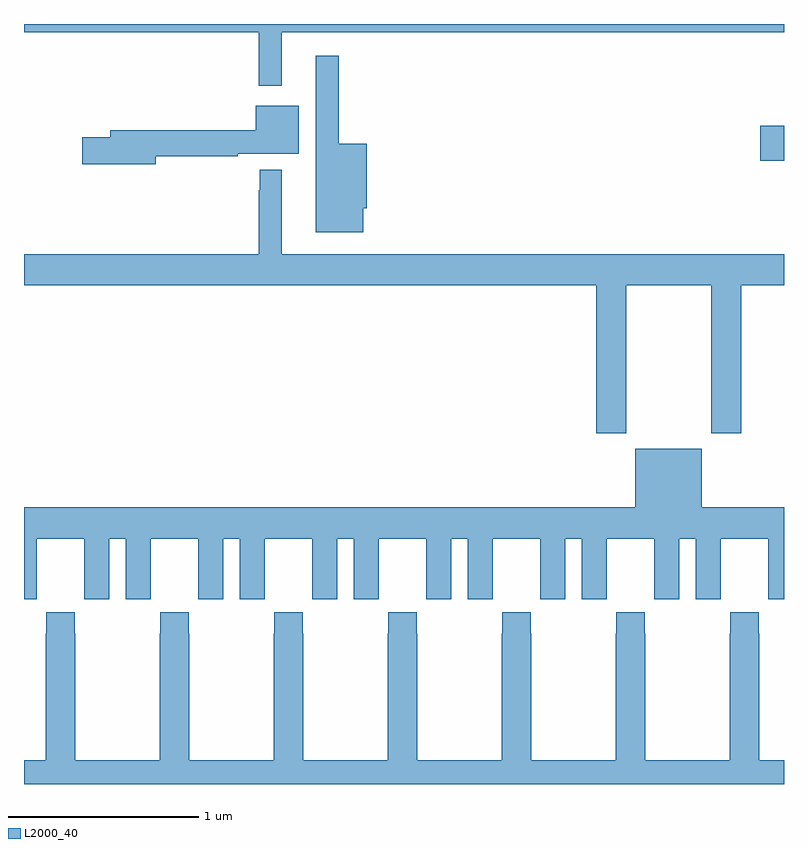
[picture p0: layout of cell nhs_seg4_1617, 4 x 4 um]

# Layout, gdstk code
import gdstk
lib = gdstk.Library(unit=1e-6, precision=1e-09)
def R(c, l, rs):  # rectangles x0, y0, x1, y1
    for r in rs: c.add(gdstk.rectangle(r[:2], r[2:], *l))
def P(c, l, *ps):  # polygons
    for p in ps: c.add(gdstk.Polygon(p, *l))
L2000_40 = (2000, 40)

nhs_seg4_1617 = lib.new_cell('nhs_seg4_1617')
R(nhs_seg4_1617, L2000_40, [(198.876,760.181,199,760.364)])
P(nhs_seg4_1617, L2000_40, [(196.357,760.856),(199,760.856),(199,760.9),(195,760.9),(195,760.856),(196.236,760.856),(196.236,760.575),(196.357,760.575)],
  [(196.786,759.93),(196.804,759.93),(196.804,760.27),(196.657,760.27),(196.657,760.732),(196.535,760.732),(196.535,759.803),(196.786,759.803)],
  [(195.694,760.204),(196.124,760.204),(196.124,760.217),(196.447,760.217),(196.447,760.471),(196.22,760.471),(196.22,760.34),(195.455,760.34),(195.455,760.304),(195.306,760.304),(195.306,760.162),(195.694,760.162)],
  [(198.171,759.524),(198.616,759.524),(198.616,758.745),(198.776,758.745),(198.776,759.524),(199,759.524),(199,759.688),(196.357,759.688),(196.357,760.132),(196.242,760.132),(196.242,760.025),(196.236,760.025),(196.236,759.688),(195,759.688),(195,759.524),(198.011,759.524),(198.011,758.745),(198.171,758.745)],
  [(195,757.872),(195.066,757.872),(195.066,757.984),(195.067,757.984),(195.067,758.192),(195.317,758.192),(195.317,757.984),(195.318,757.984),(195.318,757.872),(195.448,757.872),(195.448,758.192),(195.536,758.192),(195.536,757.872),(195.666,757.872),(195.666,757.984),(195.667,757.984),(195.667,758.192),(195.917,758.192),(195.917,757.984),(195.918,757.984),(195.918,757.872),(196.048,757.872),(196.048,758.192),(196.136,758.192),(196.136,757.872),(196.266,757.872),(196.266,757.984),(196.267,757.984),(196.267,758.192),(196.517,758.192),(196.517,757.984),(196.518,757.984),(196.518,757.872),(196.648,757.872),(196.648,758.192),(196.736,758.192),(196.736,757.872),(196.866,757.872),(196.866,757.984),(196.867,757.984),(196.867,758.192),(197.117,758.192),(197.117,757.984),(197.118,757.984),(197.118,757.872),(197.248,757.872),(197.248,758.192),(197.336,758.192),(197.336,757.872),(197.466,757.872),(197.466,757.984),(197.467,757.984),(197.467,758.192),(197.717,758.192),(197.717,757.984),(197.718,757.984),(197.718,757.872),(197.848,757.872),(197.848,758.192),(197.936,758.192),(197.936,757.872),(198.066,757.872),(198.066,757.984),(198.067,757.984),(198.067,758.192),(198.317,758.192),(198.317,757.984),(198.318,757.984),(198.318,757.872),(198.448,757.872),(198.448,758.192),(198.536,758.192),(198.536,757.872),(198.666,757.872),(198.666,757.984),(198.667,757.984),(198.667,758.192),(198.917,758.192),(198.917,757.984),(198.918,757.984),(198.918,757.872),(199,757.872),(199,758.356),(198.568,758.356),(198.568,758.665),(198.218,758.665),(198.218,758.356),(195,758.356)],
  [(199,757.024),(198.87,757.024),(198.87,757.691),(198.867,757.691),(198.867,757.804),(198.717,757.804),(198.717,757.691),(198.715,757.691),(198.715,757.024),(198.27,757.024),(198.27,757.691),(198.267,757.691),(198.267,757.804),(198.117,757.804),(198.117,757.691),(198.115,757.691),(198.115,757.024),(197.67,757.024),(197.67,757.691),(197.667,757.691),(197.667,757.804),(197.517,757.804),(197.517,757.691),(197.515,757.691),(197.515,757.024),(197.07,757.024),(197.07,757.691),(197.067,757.691),(197.067,757.804),(196.917,757.804),(196.917,757.691),(196.915,757.691),(196.915,757.024),(196.47,757.024),(196.47,757.691),(196.467,757.691),(196.467,757.804),(196.317,757.804),(196.317,757.691),(196.315,757.691),(196.315,757.024),(195.87,757.024),(195.87,757.691),(195.867,757.691),(195.867,757.804),(195.717,757.804),(195.717,757.691),(195.715,757.691),(195.715,757.024),(195.27,757.024),(195.27,757.691),(195.267,757.691),(195.267,757.804),(195.117,757.804),(195.117,757.691),(195.115,757.691),(195.115,757.024),(195,757.024),(195,756.9),(199,756.9)])

lib.write_gds('nhs_seg4_1617.gds')
